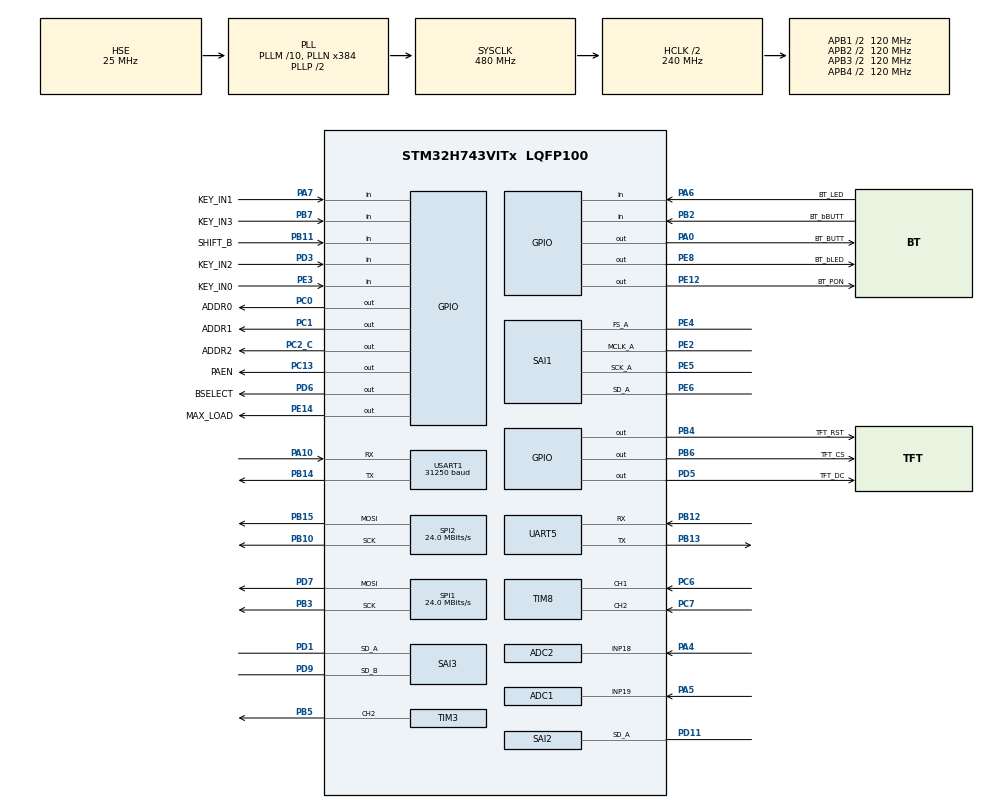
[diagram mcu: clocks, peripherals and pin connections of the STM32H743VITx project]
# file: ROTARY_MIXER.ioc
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ADC1.Channel-2\#ChannelRegularConversion=ADC_CHANNEL_19
ADC1.Mode=ADC_MODE_INDEPENDENT
ADC1.NbrOfConversionFlag=1
ADC1.OffsetNumber-2\#ChannelRegularConversion=ADC_OFFSET_NONE
ADC1.OffsetSignedSaturation-2\#ChannelRegularConversion=DISABLE
ADC1.Rank-2\#ChannelRegularConversion=1
ADC1.Resolution=ADC_RESOLUTION_12B
ADC1.SamplingTime-2\#ChannelRegularConversion=ADC_SAMPLETIME_1CYCLE_5
ADC1.master=1
ADC2.Channel-1\#ChannelRegularConversion=ADC_CHANNEL_18
ADC2.NbrOfConversionFlag=1
ADC2.OffsetNumber-1\#ChannelRegularConversion=ADC_OFFSET_NONE
ADC2.OffsetSignedSaturation-1\#ChannelRegularConversion=DISABLE
ADC2.Rank-1\#ChannelRegularConversion=1
ADC2.Resolution=ADC_RESOLUTION_12B
ADC2.SamplingTime-1\#ChannelRegularConversion=ADC_SAMPLETIME_1CYCLE_5
CORTEX_M7.CPU_DCache=Enabled
CORTEX_M7.CPU_ICache=Enabled
CORTEX_M7.Enable_S-Cortex_Memory_Protection_Unit_Region13_Settings_S=__NULL
CORTEX_M7.MPU_Control=__NULL
Mcu.Family=STM32H7
Mcu.Name=STM32H743VITx
Mcu.Package=LQFP100
NVIC.PriorityGroup=NVIC_PRIORITYGROUP_4
NVIC.SAI1_IRQn=true\:0\:0\:true\:false\:true\:true\:true\:true
NVIC.SAI2_IRQn=true\:1\:0\:true\:false\:true\:true\:true\:true
NVIC.SAI3_IRQn=true\:2\:0\:true\:false\:true\:true\:true\:true
NVIC.TIM2_IRQn=true\:3\:0\:true\:false\:true\:true\:true\:true
NVIC.TIM8_UP_TIM13_IRQn=true\:6\:0\:true\:false\:true\:true\:true\:true
NVIC.UART5_IRQn=true\:3\:0\:true\:false\:true\:true\:true\:true
NVIC.USART1_IRQn=true\:5\:0\:true\:false\:true\:true\:true\:true
PA0.GPIO_Label=BT_BUTT
PA0.GPIO_Speed=GPIO_SPEED_FREQ_MEDIUM
PA0.Signal=GPIO_Output
PA10.Mode=Asynchronous
PA10.Signal=USART1_RX
PA4.Signal=ADCx_INP18
PA5.Signal=ADCx_INP19
PA6.GPIO_Label=BT_LED
PA6.GPIO_PuPd=GPIO_PULLUP
PA6.Signal=GPIO_Input
PA7.GPIO_Label=KEY_IN1
PA7.Signal=GPIO_Input
PB10.GPIO_Speed=GPIO_SPEED_FREQ_MEDIUM
PB10.Mode=TX_Only_Simplex_Unidirect_Master
PB10.Signal=SPI2_SCK
PB11.GPIO_Label=SHIFT_B
PB11.GPIO_PuPd=GPIO_PULLUP
PB11.Signal=GPIO_Input
PB12.Mode=Asynchronous
PB12.Signal=UART5_RX
PB13.Mode=Asynchronous
PB13.Signal=UART5_TX
PB14.Mode=Asynchronous
PB14.Signal=USART1_TX
PB15.GPIO_Speed=GPIO_SPEED_FREQ_MEDIUM
PB15.Mode=TX_Only_Simplex_Unidirect_Master
PB15.Signal=SPI2_MOSI
PB2.GPIO_Label=BT_bBUTT
PB2.GPIO_PuPd=GPIO_PULLUP
PB2.Signal=GPIO_Input
PB3\ (JTDO/TRACESWO).GPIO_Speed=GPIO_SPEED_FREQ_HIGH
PB3\ (JTDO/TRACESWO).Mode=TX_Only_Simplex_Unidirect_Master
PB3\ (JTDO/TRACESWO).Signal=SPI1_SCK
PB4\ (NJTRST).GPIO_Label=TFT_RST
PB4\ (NJTRST).GPIO_Speed=GPIO_SPEED_FREQ_MEDIUM
PB4\ (NJTRST).Signal=GPIO_Output
PB5.Signal=S_TIM3_CH2
PB6.GPIO_FM6=SYSCFG_PMCR_I2C_PB6_FMP
PB6.GPIO_Label=TFT_CS
PB6.GPIO_Speed=GPIO_SPEED_FREQ_VERY_HIGH
PB6.PinState=GPIO_PIN_SET
PB6.Signal=GPIO_Output
PB7.GPIO_Label=KEY_IN3
PB7.Signal=GPIO_Input
PC0.GPIO_Label=ADDR0
PC0.GPIO_Speed=GPIO_SPEED_FREQ_HIGH
PC0.Signal=GPIO_Output
PC1.GPIO_Label=ADDR1
PC1.GPIO_Speed=GPIO_SPEED_FREQ_HIGH
PC1.Signal=GPIO_Output
PC13.GPIO_Label=PAEN
PC13.Signal=GPIO_Output
PC2_C.GPIO_Label=ADDR2
PC2_C.GPIO_Speed=GPIO_SPEED_FREQ_HIGH
PC2_C.Signal=GPIO_Output
PC6.Signal=S_TIM8_CH1
PC7.Signal=S_TIM8_CH2
PD1.Mode=SAI_A_SyncSlave
PD1.Signal=SAI3_SD_A
PD11.Mode=SAI_A_SyncSlave
PD11.Signal=SAI2_SD_A
PD3.GPIO_Label=KEY_IN2
PD3.Signal=GPIO_Input
PD5.GPIO_Label=TFT_DC
PD5.GPIO_Speed=GPIO_SPEED_FREQ_VERY_HIGH
PD5.Signal=GPIO_Output
PD6.GPIO_Label=BSELECT
PD6.GPIO_Speed=GPIO_SPEED_FREQ_MEDIUM
PD6.Signal=GPIO_Output
PD7.GPIO_Speed=GPIO_SPEED_FREQ_HIGH
PD7.Mode=TX_Only_Simplex_Unidirect_Master
PD7.Signal=SPI1_MOSI
PD9.Mode=SAI_B_SyncSlave
PD9.Signal=SAI3_SD_B
PE12.GPIO_Label=BT_PON
PE12.GPIO_Speed=GPIO_SPEED_FREQ_MEDIUM
PE12.Signal=GPIO_Output
PE14.GPIO_Label=MAX_LOAD
PE14.GPIO_Speed=GPIO_SPEED_FREQ_VERY_HIGH
PE14.Signal=GPIO_Output
PE2.Mode=SAI_A_MasterWithClock
PE2.Signal=SAI1_MCLK_A
PE3.GPIO_Label=KEY_IN0
PE3.Signal=GPIO_Input
PE4.Mode=SAI_A_MasterWithClock
PE4.Signal=SAI1_FS_A
PE5.Mode=SAI_A_MasterWithClock
PE5.Signal=SAI1_SCK_A
PE6.Mode=SAI_A_MasterWithClock
PE6.Signal=SAI1_SD_A
PE8.GPIO_Label=BT_bLED
PE8.GPIO_Speed=GPIO_SPEED_FREQ_MEDIUM
PE8.Signal=GPIO_Output
PH0-OSC_IN\ (PH0).Mode=HSE-External-Oscillator
PH0-OSC_IN\ (PH0).Signal=RCC_OSC_IN
PH1-OSC_OUT\ (PH1).Mode=HSE-External-Oscillator
PH1-OSC_OUT\ (PH1).Signal=RCC_OSC_OUT
ProjectManager.HeapSize=0x200
ProjectManager.StackSize=0x400
ProjectManager.TargetToolchain=MDK-ARM V5.32
RCC.ADCFreq_Value=60000000
RCC.APB1Freq_Value=120000000
RCC.APB2Freq_Value=120000000
RCC.APB3Freq_Value=120000000
RCC.APB4Freq_Value=120000000
RCC.CortexFreq_Value=480000000
RCC.D1PPRE=RCC_APB3_DIV2
RCC.D2PPRE1=RCC_APB1_DIV2
RCC.D2PPRE2=RCC_APB2_DIV2
RCC.D3PPRE=RCC_APB4_DIV2
RCC.DIVM1=10
RCC.DIVM2=10
RCC.DIVM3=25
RCC.DIVN1=384
RCC.DIVN2=144
RCC.DIVN3=451
RCC.DIVP2=6
RCC.DIVP3=4
RCC.DIVQ1=5
RCC.HCLKFreq_Value=240000000
RCC.HPRE=RCC_HCLK_DIV2
RCC.LockedElements=D1CPREOutput
RCC.PLL2FRACN=0
RCC.PLL3FRACN=0
RCC.PLLFRACN=0
RCC.PLLSourceVirtual=RCC_PLLSOURCE_HSE
RCC.SAI1CLockSelection=RCC_SAI1CLKSOURCE_PLL3
RCC.SAI23CLockSelection=RCC_SAI23CLKSOURCE_PLL3
RCC.SYSCLKFreq_VALUE=480000000
RCC.SYSCLKSource=RCC_SYSCLKSOURCE_PLLCLK
RCC.Tim2Mul=2
RCC.USBFreq_Value=192000000
SAI1.ActiveFrameLength-SAI_A_MasterWithClock=32
SAI1.AudioFrequency-SAI_A_MasterWithClock=SAI_AUDIO_FREQUENCY_44K
SAI1.AudioMode-SAI_A_MasterWithClock=SAI_MODEMASTER_TX
SAI1.ClockStrobing-SAI_A_MasterWithClock=SAI_CLOCKSTROBING_RISINGEDGE
SAI1.DataSize-SAI_A_MasterWithClock=SAI_DATASIZE_16
SAI1.ErrorAudioFreq-SAI_A_MasterWithClock=0.09 %
SAI1.FSDefinition-SAI_A_MasterWithClock=SAI_FS_CHANNEL_IDENTIFICATION
SAI1.FSOffset-SAI_A_MasterWithClock=SAI_FS_BEFOREFIRSTBIT
SAI1.FrameLength-SAI_A_MasterWithClock=64
SAI1.Instance-SAI_A_MasterWithClock=SAI$Index_Block_A
SAI1.MClockEnable=SAI_MASTERCLOCK_ENABLE
SAI1.OutputDrive-SAI_A_MasterWithClock=SAI_OUTPUTDRIVE_ENABLE
SAI1.RealAudioFreq-SAI_A_MasterWithClock=44.042 KHz
SAI1.SlotActive-SAI_A_MasterWithClock=0x00000003
SAI1.SlotNumber-SAI_A_MasterWithClock=2
SAI1.SlotSize-SAI_A_MasterWithClock=SAI_SLOTSIZE_DATASIZE
SAI1.SynchroExt=SAI_SYNCEXT_OUTBLOCKA_ENABLE
SAI1.VirtualMode-SAI_A_MasterWithClock=VM_MASTER
SAI1.VirtualSlotActive-SAI_A_MasterWithClock=SAI_SLOT_USERSETTING
SAI1.VirtualSlotActive0-SAI_A_MasterWithClock=true
SAI1.VirtualSlotActive1-SAI_A_MasterWithClock=true
SAI2.ClockStrobing-SAI_A_SyncSlave=SAI_CLOCKSTROBING_RISINGEDGE
SAI2.DataSize-SAI_A_SyncSlave=SAI_DATASIZE_16
SAI2.FrameLength-SAI_A_SyncSlave=32
SAI2.Instance-SAI_A_SyncSlave=SAI$Index_Block_A
SAI2.OutputDrive-SAI_A_SyncSlave=SAI_OUTPUTDRIVE_ENABLE
SAI2.SlotActive-SAI_A_SyncSlave=0x00000003
SAI2.SlotNumber-SAI_A_SyncSlave=2
SAI2.Synchro_A=SAI_SYNCHRONOUS
SAI2.VirtualMode-SAI_A_SyncSlave=VM_SLAVE
SAI2.VirtualSlotActive-SAI_A_SyncSlave=SAI_SLOT_USERSETTING
SAI2.VirtualSlotActive0-SAI_A_SyncSlave=true
SAI2.VirtualSlotActive1-SAI_A_SyncSlave=true
SAI3.ActiveFrameLength-SAI_A_SyncSlave=32
SAI3.ActiveFrameLength-SAI_B_SyncSlave=32
SAI3.ClockStrobing-SAI_A_SyncSlave=SAI_CLOCKSTROBING_RISINGEDGE
SAI3.ClockStrobing-SAI_B_SyncSlave=SAI_CLOCKSTROBING_RISINGEDGE
SAI3.DataSize-SAI_A_SyncSlave=SAI_DATASIZE_16
SAI3.DataSize-SAI_B_SyncSlave=SAI_DATASIZE_16
SAI3.FSDefinition-SAI_A_SyncSlave=SAI_FS_CHANNEL_IDENTIFICATION
SAI3.FSDefinition-SAI_B_SyncSlave=SAI_FS_CHANNEL_IDENTIFICATION
SAI3.FrameLength-SAI_A_SyncSlave=64
SAI3.FrameLength-SAI_B_SyncSlave=64
SAI3.Instance-SAI_A_SyncSlave=SAI$Index_Block_A
SAI3.Instance-SAI_B_SyncSlave=SAI$Index_Block_B
SAI3.OutputDrive-SAI_A_SyncSlave=SAI_OUTPUTDRIVE_ENABLE
SAI3.OutputDrive-SAI_B_SyncSlave=SAI_OUTPUTDRIVE_ENABLE
SAI3.SlotActive-SAI_A_SyncSlave=0x00000003
SAI3.SlotActive-SAI_B_SyncSlave=0x00000003
SAI3.SlotNumber-SAI_A_SyncSlave=2
SAI3.SlotNumber-SAI_B_SyncSlave=2
SAI3.Synchro_A=SAI_SYNCHRONOUS_EXT_SAI1
SAI3.VirtualMode-SAI_A_SyncSlave=VM_SLAVE
SAI3.VirtualMode-SAI_B_SyncSlave=VM_SLAVE
SAI3.VirtualSlotActive-SAI_A_SyncSlave=SAI_SLOT_USERSETTING
SAI3.VirtualSlotActive-SAI_B_SyncSlave=SAI_SLOT_USERSETTING
SAI3.VirtualSlotActive0-SAI_A_SyncSlave=true
SAI3.VirtualSlotActive0-SAI_B_SyncSlave=true
SAI3.VirtualSlotActive1-SAI_A_SyncSlave=true
SAI3.VirtualSlotActive1-SAI_B_SyncSlave=true
SH.ADCx_INP18.0=ADC2_INP18,IN18-Single-Ended
SH.ADCx_INP19.0=ADC1_INP19,IN19-Single-Ended
SH.S_TIM3_CH2.0=TIM3_CH2,PWM Generation2 CH2
SH.S_TIM8_CH1.0=TIM8_CH1,Encoder_Interface
SH.S_TIM8_CH2.0=TIM8_CH2,Encoder_Interface
SPI1.BaudRatePrescaler=SPI_BAUDRATEPRESCALER_8
SPI1.CalculateBaudRate=24.0 MBits/s
SPI1.DataSize=SPI_DATASIZE_8BIT
SPI1.Direction=SPI_DIRECTION_2LINES_TXONLY
SPI1.MasterKeepIOState=SPI_MASTER_KEEP_IO_STATE_ENABLE
SPI1.Mode=SPI_MODE_MASTER
SPI1.VirtualType=VM_MASTER
SPI2.BaudRatePrescaler=SPI_BAUDRATEPRESCALER_8
SPI2.CalculateBaudRate=24.0 MBits/s
SPI2.DataSize=SPI_DATASIZE_16BIT
SPI2.Direction=SPI_DIRECTION_2LINES_TXONLY
SPI2.MasterKeepIOState=SPI_MASTER_KEEP_IO_STATE_ENABLE
SPI2.Mode=SPI_MODE_MASTER
SPI2.NSSPMode=SPI_NSS_PULSE_ENABLE
SPI2.VirtualType=VM_MASTER
TIM2.ClockDivision=TIM_CLOCKDIVISION_DIV2
TIM2.Period=999
TIM2.Prescaler=99
TIM3.Channel-PWM\ Generation2\ CH2=TIM_CHANNEL_2
TIM3.ClockDivision=TIM_CLOCKDIVISION_DIV4
TIM3.Period=999
TIM3.Prescaler=239
TIM8.EncoderMode=TIM_ENCODERMODE_TI1
TIM8.IC1Filter=5
TIM8.IC2Filter=5
USART1.BaudRate=31250
USART1.Mode=MODE_RX
USART1.VirtualMode-Asynchronous=VM_ASYNC
VP_SAI1_VP_$IpInstance_SYNCHRO_EXTERNAL.Mode=SynchroExternal
VP_TIM2_VS_ClockSourceINT.Mode=Internal
VP_TIM3_VS_ClockSourceINT.Mode=Internal
board=custom

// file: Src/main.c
/* USER CODE BEGIN Header */
/**
  ******************************************************************************
  * @file           : main.c
  * @brief          : Main program body
  ******************************************************************************
  * @attention
  *
  * Copyright (c) 2024 STMicroelectronics.
  * All rights reserved.
  *
  * This software is licensed under terms that can be found in the LICENSE file
  * in the root directory of this software component.
  * If no LICENSE file comes with this software, it is provided AS-IS.
  *
  ******************************************************************************
  */
/* USER CODE END Header */
#include "main.h"
#include "adc.h"
#include "sai.h"
#include "spi.h"
#include "tim.h"
#include "usart.h"
#include "gpio.h"

/* USER CODE BEGIN Includes */
#include <math.h>
#include "arm_math.h"

////////////////////////////////////////////////////////////////////////////////////////
//
//		Product: XDJ-X mixer assy
//
//
//		Generated with: STM32CubeMX 6.10.0
//		Firmware Package Name and Version STM32Cube FW_H7 V1.11.1
//
//
//		add file arm_math.h
//		SPI2:
//	  hspi2.Init.MasterKeepIOState = SPI_MASTER_KEEP_IO_STATE_ENABLE;
//    GPIO_InitStruct.Speed = GPIO_SPEED_FREQ_MEDIUM; (SPI2)
//		SPI1:
//	  hspi1.Init.MasterKeepIOState = SPI_MASTER_KEEP_IO_STATE_ENABLE;
//
//    PB3 (JTDO/TRACESWO)     ------> SPI1_SCK
//    */
//    GPIO_InitStruct.Pin = GPIO_PIN_7;
//    GPIO_InitStruct.Mode = GPIO_MODE_AF_PP;
//    GPIO_InitStruct.Pull = GPIO_PULLUP;
//    GPIO_InitStruct.Speed = GPIO_SPEED_FREQ_HIGH;
//    GPIO_InitStruct.Alternate = GPIO_AF5_SPI1;
//    HAL_GPIO_Init(GPIOD, &GPIO_InitStruct);
//
//    GPIO_InitStruct.Pin = GPIO_PIN_3;
//    GPIO_InitStruct.Mode = GPIO_MODE_AF_PP;
//    GPIO_InitStruct.Pull = GPIO_PULLUP;
//    GPIO_InitStruct.Speed = GPIO_SPEED_FREQ_HIGH;
//    GPIO_InitStruct.Alternate = GPIO_AF5_SPI1;
//    HAL_GPIO_Init(GPIOB, &GPIO_InitStruct);
//
//
//
//		replace code in: sai.c
//
//  		hsai_BlockA2.Instance = SAI2_Block_A;
//			hsai_BlockA2.Init.Protocol = SAI_FREE_PROTOCOL;
//			hsai_BlockA2.Init.AudioMode = SAI_MODESLAVE_TX;
//			hsai_BlockA2.Init.DataSize = SAI_DATASIZE_16;
//			hsai_BlockA2.Init.FirstBit = SAI_FIRSTBIT_MSB;
//			hsai_BlockA2.Init.ClockStrobing = SAI_CLOCKSTROBING_RISINGEDGE;
//			hsai_BlockA2.Init.Synchro = SAI_SYNCHRONOUS_EXT_SAI1;
//			hsai_BlockA2.Init.OutputDrive = SAI_OUTPUTDRIVE_ENABLE;
//			hsai_BlockA2.Init.FIFOThreshold = SAI_FIFOTHRESHOLD_EMPTY;
//			hsai_BlockA2.Init.MonoStereoMode = SAI_STEREOMODE;
//			hsai_BlockA2.Init.CompandingMode = SAI_NOCOMPANDING;
//			hsai_BlockA2.Init.TriState = SAI_OUTPUT_NOTRELEASED;
//			hsai_BlockA2.Init.PdmInit.Activation = DISABLE;
//			hsai_BlockA2.Init.PdmInit.MicPairsNbr = 1;
//			hsai_BlockA2.Init.PdmInit.ClockEnable = SAI_PDM_CLOCK1_ENABLE;
//			hsai_BlockA2.FrameInit.FrameLength = 64;
//			hsai_BlockA2.FrameInit.ActiveFrameLength = 32;
//			hsai_BlockA2.FrameInit.FSDefinition = SAI_FS_CHANNEL_IDENTIFICATION;
//			hsai_BlockA2.FrameInit.FSPolarity = SAI_FS_ACTIVE_LOW;
//			hsai_BlockA2.FrameInit.FSOffset = SAI_FS_BEFOREFIRSTBIT;
//			hsai_BlockA2.SlotInit.FirstBitOffset = 0;
//			hsai_BlockA2.SlotInit.SlotSize = SAI_SLOTSIZE_DATASIZE;
//			hsai_BlockA2.SlotInit.SlotNumber = 2;
//			hsai_BlockA2.SlotInit.SlotActive = 0x00000003;
//			if (HAL_SAI_Init(&hsai_BlockA2) != HAL_OK)
//			{
//				Error_Handler();
//			}
//
//
//
//	TIM2 		interrupt for cycle request ADCs and buttons
//	TIM3		PWM for LCD backlight
//	TIM8		encoder timer
//	SPI1		TFT ST7735
//	SPI2		MAX7219
//	USART1	crossfader RX only BaudRate = 31000
//	UART5		for bridge main assy <=> mixer assy
//
//
//
////////////////////////////////////////////////////////////////////////////////////////
//
//
//
//	ver. 0.15
//	-	filling peripheral functions
//	ver. 0.16
//	-	added tft blink test
//	ver. 0.19
//	-	added tft_gui.h
//	-	improved TFT library (accelerated pixel output, changed arguments in functions to uint8_t)
//	-	add FontVFD font
//	-	multiplexer scanning sequence error fixed
//	ver. 0.21
//	-	added ADCs
//	-	added level meters func
//	ver. 0.22
//	-	added hysteresis filter for adcs
//	ver. 0.23
//	-	added USART1 crossfader recieve data
//	ver. 0.24
//	- added Bluetooth power, button, led managment
//	ver. 0.25
//	- DACs with sine wave output started
//	ver. 0.26
//	-	added blinking CFX, BFX
//	ver. 0.27
//	- added link uart5 handler
//	ver. 0.28
//	- fix BFXON led invert
//
//
//
//
//
//
////////////////////////////////////////////////////////////////////////////////////////

/* USER CODE END Includes */

/* USER CODE BEGIN PV */

#include "global_variables.h"

#include "spi_st7735.h"
#include "audio.h"
#include "audio_handler.h"
#include "tft_gui.h"
#include "MAX7219.h"

/* USER CODE END PV */

void SystemClock_Config(void);
void PeriphCommonClock_Config(void);

int main(void)
{
/* Enable the CPU Cache */

  /* Enable I-Cache---------------------------------------------------------*/
  SCB_EnableICache();

  /* Enable D-Cache---------------------------------------------------------*/
  SCB_EnableDCache();

  /* MCU Configuration--------------------------------------------------------*/

  /* Reset of all peripherals, Initializes the Flash interface and the Systick. */
  HAL_Init();

  /* Configure the system clock */
  SystemClock_Config();

/* Configure the peripherals common clocks */
  PeriphCommonClock_Config();

  /* Initialize all configured peripherals */
  MX_GPIO_Init();
  MX_UART5_Init();
  MX_SAI1_Init();
  MX_SAI2_Init();
  MX_SAI3_Init();
  MX_TIM2_Init();
  MX_ADC1_Init();
  MX_ADC2_Init();
  MX_SPI1_Init();
  MX_SPI2_Init();
  MX_TIM8_Init();
  MX_USART1_UART_Init();
  MX_TIM3_Init();
  /* USER CODE BEGIN 2 */
	MAX7219_INIT();
	HAL_Delay(3100);

	HAL_GPIO_WritePin(TFT_RST_GPIO_Port, TFT_RST_Pin, GPIO_PIN_SET);
	HAL_Delay(100);
	HAL_GPIO_WritePin(TFT_RST_GPIO_Port, TFT_RST_Pin, GPIO_PIN_RESET);

	TFT_ini(128, 160);
	TFT_SetRotation();
  TFT_FillScreen(TFT_BLACK);
	TFT_DRAW_STATIC();

	TFT_SetBackColor(TFT_BLACK);
	TFT_SetTextColor(TFT_WHITE);

	HAL_SAI_Transmit_IT(&hsai_BlockA1, MASTER_BUS, 2);
	HAL_SAI_Transmit_IT(&hsai_BlockA2, HP_BUS, 2);
	HAL_SAI_Receive_IT(&hsai_BlockA3, CH2IN, 2);
	HAL_SAI_Receive_IT(&hsai_BlockB3, CH1IN, 2);

	HAL_TIM_Base_Start_IT(&htim2);									//start main timer
	HAL_TIM_PWM_Start(&htim3, TIM_CHANNEL_2);				//start lcd pwm
	TIM3->CCR2 = 750;																//set lcd pwm

	MAX7219_DATA[0] = 0xFF;
	MAX7219_DATA[1] = 0xFF;
	MAX7219_DATA[2] = 0xFF;
	MAX7219_DATA[3] = 0xFF;
	MAX7219_DATA[4] = 0xFF;
	MAX7219_DATA[5] = 0xFF;
	MAX7219_DATA[6] = 0xFF;
	MAX7219_DATA[7] = 0xFF;

	MAX7219_UPDATE(0);
	MAX7219_UPDATE(1);
	MAX7219_UPDATE(2);
	MAX7219_UPDATE(3);
	MAX7219_UPDATE(4);
	MAX7219_UPDATE(5);
	MAX7219_UPDATE(6);
	MAX7219_UPDATE(7);

	BT_LED_ON;
	HAL_Delay(2000);
	HAL_GPIO_WritePin(GPIOC, PAEN_Pin, GPIO_PIN_SET);			//analog power on
	USART1->CR1 |= USART_CR1_RXNEIE_RXFNEIE; //interrupt ON for a RX enable
	USART1->CR1 |= USART_CR1_PEIE;
	UART5->CR1 |= USART_CR1_RXNEIE_RXFNEIE; //interrupt ON for a RX enable
	UART5->CR1 |= USART_CR1_PEIE;

	MAX7219_DATA[7] = 0xF0;
	MAX7219_UPDATE(7);
  /* USER CODE END 2 */

  /* Infinite loop */
  /* USER CODE BEGIN WHILE */
  while (1)
  {
	/////////////////TEMPORARY
	if((HAL_GetTick()-temp_time)>250)
		{
		if(lay==0)
			{
			TFT_SetTextColor(TFT_WHITE);
			lay = 1;
			}
		else
			{
			TFT_SetTextColor(TFT_BLACK);
			lay = 0;
			}
		sprintf((char*)STR_BUFF, "123");
		TFT_SetFont(&FontVFD);
		TFT_String(38, 77, STR_BUFF);

		if(BFXON_prsd)
			{
			sprintf((char*)STR_BUFF, "BFXON");
			}
		else if(BEATm_prsd)
			{
			sprintf((char*)STR_BUFF, "BEATm");
			}
		else if(BEATp_prsd)
			{
			sprintf((char*)STR_BUFF, "BEATp");
			}
		else if(CUE1_prsd)
			{
			sprintf((char*)STR_BUFF, "CUE1 ");
			}
		else if(CUE2_prsd)
			{
			sprintf((char*)STR_BUFF, "CUE2 ");
			}
		else if(EQCURVE_prsd)
			{
			sprintf((char*)STR_BUFF, "EQCUR");
			}
		else if(CFX1_prsd)
			{
			sprintf((char*)STR_BUFF, "CFX1 ");
			}
		else if(CFX2_prsd)
			{
			sprintf((char*)STR_BUFF, "CFX2 ");
			}
		else if(CFX3_prsd)
			{
			sprintf((char*)STR_BUFF, "CFX3 ");
			}
		else if(CFX4_prsd)
			{
			sprintf((char*)STR_BUFF, "CFX4 ");
			}
		else if(CFX5_prsd)
			{
			sprintf((char*)STR_BUFF, "CFX5 ");
			}
		else if(CFX6_prsd)
			{
			sprintf((char*)STR_BUFF, "CFX6 ");
			}
		else if(CFX7_prsd)
			{
			sprintf((char*)STR_BUFF, "CFX7 ");
			}
		else if(CFX8_prsd)
			{
			sprintf((char*)STR_BUFF, "CFX8 ");
			}
		else
			{
			sprintf((char*)STR_BUFF, "     ");
			}
		TFT_SetTextColor(TFT_BLUE);
		TFT_SetFont(&Font8);
		TFT_String(1, 105, STR_BUFF);

		HAL_UART_Transmit(&huart5, STR_BUFF, 5, 5);

		sprintf((char*)&STR_BUFF[48], "CRS:%01lu", CRSFCURVE);
		TFT_SetTextColor(TFT_BLUE);
		TFT_SetFont(&Font8);
		TFT_String(1, 122, &STR_BUFF[48]);

		sprintf((char*)&STR_BUFF[53], " \n\r");
		HAL_UART_Transmit(&huart5, &STR_BUFF[48], 8, 5);

		temp_time = HAL_GetTick();
		}

	if(ADC_prev[1]!=pot_out[FDR0])
		{
		LEVEL_METER(0, pot_out[FDR0]/329, 0);
		ADC_prev[1] = pot_out[FDR0];
		}

	if(ADC_prev[0]!=pot_out[FDR1])
		{
		LEVEL_METER(1, pot_out[FDR1]/329, 0);
		ADC_prev[0] = pot_out[FDR1];
		}

	if(ADC_prev[2]!=pot_out[HPHN])
		{
		LEVEL_METER(2, pot_out[HPHN]/329, 0);
		ADC_prev[2] = pot_out[HPHN];
		}

	if(ADC_prev[3]!=CRSF_midi)
		{
		sprintf((char*)&STR_BUFF[32], "%04lu", CRSF_midi);
		TFT_SetTextColor(TFT_BLUE);
		TFT_SetFont(&Font8);
		TFT_String(1, 113, &STR_BUFF[32]);
		LEVEL_METER(3, CRSF_midi/10, 0);
		ADC_prev[3] = CRSF_midi;
		}

	if(MAX7219_need_update!=0)
		{
		if(MAX7219_need_update&0x01)
			{
			MAX7219_UPDATE(0);
			MAX7219_need_update&=0xFE;
			}
		if(MAX7219_need_update&0x02)
			{
			MAX7219_UPDATE(1);
			MAX7219_need_update&=0xFD;
			}
		if(MAX7219_need_update&0x04)
			{
			MAX7219_UPDATE(2);
			MAX7219_need_update&=0xFB;
			}
		if(MAX7219_need_update&0x08)
			{
			MAX7219_UPDATE(3);
			MAX7219_need_update&=0xF7;
			}
		if(MAX7219_need_update&0x10)
			{
			MAX7219_UPDATE(4);
			MAX7219_need_update&=0xEF;
			}
		if(MAX7219_need_update&0x20)
			{
			MAX7219_UPDATE(5);
			MAX7219_need_update&=0xDF;
			}
		if(MAX7219_need_update&0x40)
			{
			MAX7219_UPDATE(6);
			MAX7219_need_update&=0xBF;
			}
		if(MAX7219_need_update&0x80)
			{
			MAX7219_UPDATE(7);
			MAX7219_need_update&=0x7F;
			}
		}

	if(need_draw_fxsel>0)
		{
		TFT_FXSELECTOR(BFXn);
		need_draw_fxsel = 0;
		}
	if(need_draw_chsel>0)
		{
		TFT_CHSELECTOR(CHSEL);
		need_draw_chsel = 0;
		}
	if(need_draw_bticon>0)
		{
		TFT_DRAW_BT(BT_ENABLE);
		need_draw_bticon = 0;
		}

		if(link_new_data)
			{

			link_new_data = 0;
			}

    /* USER CODE END WHILE */

  }
}

void SystemClock_Config(void)
{
  RCC_OscInitTypeDef RCC_OscInitStruct = {0};
  RCC_ClkInitTypeDef RCC_ClkInitStruct = {0};

  /** Supply configuration update enable
  */
  HAL_PWREx_ConfigSupply(PWR_LDO_SUPPLY);

  /** Configure the main internal regulator output voltage
  */
  __HAL_PWR_VOLTAGESCALING_CONFIG(PWR_REGULATOR_VOLTAGE_SCALE1);

  while(!__HAL_PWR_GET_FLAG(PWR_FLAG_VOSRDY)) {}

  __HAL_RCC_SYSCFG_CLK_ENABLE();
  __HAL_PWR_VOLTAGESCALING_CONFIG(PWR_REGULATOR_VOLTAGE_SCALE0);

  while(!__HAL_PWR_GET_FLAG(PWR_FLAG_VOSRDY)) {}

  /** Initializes the RCC Oscillators according to the specified parameters
  * in the RCC_OscInitTypeDef structure.
  */
  RCC_OscInitStruct.OscillatorType = RCC_OSCILLATORTYPE_HSE;
  RCC_OscInitStruct.HSEState = RCC_HSE_ON;
  RCC_OscInitStruct.PLL.PLLState = RCC_PLL_ON;
  RCC_OscInitStruct.PLL.PLLSource = RCC_PLLSOURCE_HSE;
  RCC_OscInitStruct.PLL.PLLM = 10;
  RCC_OscInitStruct.PLL.PLLN = 384;
  RCC_OscInitStruct.PLL.PLLP = 2;
  RCC_OscInitStruct.PLL.PLLQ = 5;
  RCC_OscInitStruct.PLL.PLLR = 2;
  RCC_OscInitStruct.PLL.PLLRGE = RCC_PLL1VCIRANGE_1;
  RCC_OscInitStruct.PLL.PLLVCOSEL = RCC_PLL1VCOWIDE;
  RCC_OscInitStruct.PLL.PLLFRACN = 0;
  if (HAL_RCC_OscConfig(&RCC_OscInitStruct) != HAL_OK)
  {
    Error_Handler();
  }

  /** Initializes the CPU, AHB and APB buses clocks
  */
  RCC_ClkInitStruct.ClockType = RCC_CLOCKTYPE_HCLK|RCC_CLOCKTYPE_SYSCLK
                              |RCC_CLOCKTYPE_PCLK1|RCC_CLOCKTYPE_PCLK2
                              |RCC_CLOCKTYPE_D3PCLK1|RCC_CLOCKTYPE_D1PCLK1;
  RCC_ClkInitStruct.SYSCLKSource = RCC_SYSCLKSOURCE_PLLCLK;
  RCC_ClkInitStruct.SYSCLKDivider = RCC_SYSCLK_DIV1;
  RCC_ClkInitStruct.AHBCLKDivider = RCC_HCLK_DIV2;
  RCC_ClkInitStruct.APB3CLKDivider = RCC_APB3_DIV2;
  RCC_ClkInitStruct.APB1CLKDivider = RCC_APB1_DIV2;
  RCC_ClkInitStruct.APB2CLKDivider = RCC_APB2_DIV2;
  RCC_ClkInitStruct.APB4CLKDivider = RCC_APB4_DIV2;

  if (HAL_RCC_ClockConfig(&RCC_ClkInitStruct, FLASH_LATENCY_4) != HAL_OK)
  {
    Error_Handler();
  }
}

void PeriphCommonClock_Config(void)
{
  RCC_PeriphCLKInitTypeDef PeriphClkInitStruct = {0};

  /** Initializes the peripherals clock
  */
  PeriphClkInitStruct.PeriphClockSelection = RCC_PERIPHCLK_ADC|RCC_PERIPHCLK_SAI1
                              |RCC_PERIPHCLK_SAI2|RCC_PERIPHCLK_SAI3;
  PeriphClkInitStruct.PLL2.PLL2M = 10;
  PeriphClkInitStruct.PLL2.PLL2N = 144;
  PeriphClkInitStruct.PLL2.PLL2P = 6;
  PeriphClkInitStruct.PLL2.PLL2Q = 2;
  PeriphClkInitStruct.PLL2.PLL2R = 2;
  PeriphClkInitStruct.PLL2.PLL2RGE = RCC_PLL2VCIRANGE_1;
  PeriphClkInitStruct.PLL2.PLL2VCOSEL = RCC_PLL2VCOWIDE;
  PeriphClkInitStruct.PLL2.PLL2FRACN = 0;
  PeriphClkInitStruct.PLL3.PLL3M = 25;
  PeriphClkInitStruct.PLL3.PLL3N = 451;
  PeriphClkInitStruct.PLL3.PLL3P = 4;
  PeriphClkInitStruct.PLL3.PLL3Q = 2;
  PeriphClkInitStruct.PLL3.PLL3R = 2;
  PeriphClkInitStruct.PLL3.PLL3RGE = RCC_PLL3VCIRANGE_0;
  PeriphClkInitStruct.PLL3.PLL3VCOSEL = RCC_PLL3VCOWIDE;
  PeriphClkInitStruct.PLL3.PLL3FRACN = 0;
  PeriphClkInitStruct.Sai1ClockSelection = RCC_SAI1CLKSOURCE_PLL3;
  PeriphClkInitStruct.Sai23ClockSelection = RCC_SAI23CLKSOURCE_PLL3;
  PeriphClkInitStruct.AdcClockSelection = RCC_ADCCLKSOURCE_PLL2;
  if (HAL_RCCEx_PeriphCLKConfig(&PeriphClkInitStruct) != HAL_OK)
  {
    Error_Handler();
  }
}

/* USER CODE BEGIN 4 */

#include "uarts_handler.h"
#include "timer_handler.h"
#include "encoder_handler.h"

/* USER CODE END 4 */

void Error_Handler(void)
{
  __disable_irq();
  while (1)
  {
  }
}
